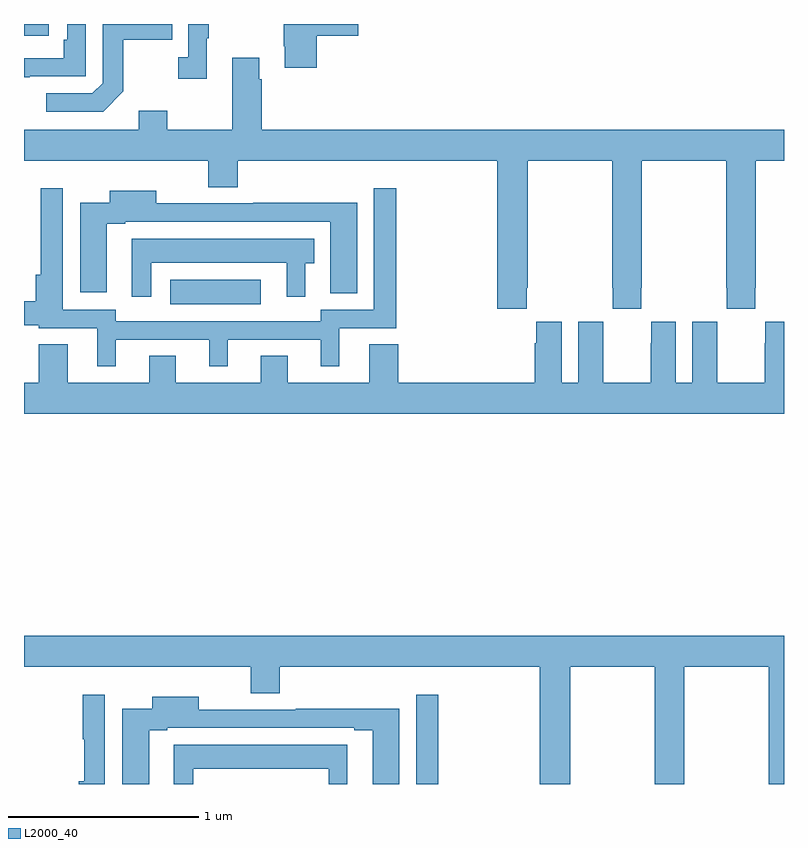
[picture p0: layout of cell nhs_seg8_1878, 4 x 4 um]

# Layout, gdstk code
import gdstk
lib = gdstk.Library(unit=1e-6, precision=1e-09)
def R(c, l, rs):  # rectangles x0, y0, x1, y1
    for r in rs: c.add(gdstk.rectangle(r[:2], r[2:], *l))
def P(c, l, *ps):  # polygons
    for p in ps: c.add(gdstk.Polygon(p, *l))
L2000_40 = (2000, 40)

nhs_seg8_1878 = lib.new_cell('nhs_seg8_1878')
R(nhs_seg8_1878, L2000_40, [(233.064,1099.9,233.18,1100.371), (231.771,1102.424,232.246,1102.555), (231,1103.838,231.13,1103.9)])
P(nhs_seg8_1878, L2000_40, [(231.961,1103.825),(231.973,1103.825),(231.973,1103.9),(231.864,1103.9),(231.864,1103.726),(231.813,1103.726),(231.813,1103.613),(231.961,1103.613)],
  [(231.029,1103.625),(231.324,1103.625),(231.324,1103.9),(231.228,1103.9),(231.228,1103.818),(231.208,1103.818),(231.208,1103.721),(231,1103.721),(231,1103.62),(231.029,1103.62)],
  [(231.523,1103.545),(231.523,1103.818),(231.779,1103.818),(231.779,1103.9),(231.414,1103.9),(231.414,1103.589),(231.36,1103.535),(231.117,1103.535),(231.117,1103.439),(231.417,1103.439)],
  [(232.541,1103.837),(232.759,1103.837),(232.759,1103.9),(232.366,1103.9),(232.366,1103.782),(232.373,1103.782),(232.373,1103.67),(232.541,1103.67)],
  [(233.645,1102.513),(233.652,1102.513),(233.652,1103.18),(234.097,1103.18),(234.097,1102.513),(234.099,1102.513),(234.099,1102.401),(234.249,1102.401),(234.249,1102.513),(234.252,1102.513),(234.252,1103.18),(234.697,1103.18),(234.697,1102.513),(234.699,1102.513),(234.699,1102.401),(234.849,1102.401),(234.849,1102.513),(234.852,1102.513),(234.852,1103.18),(235,1103.18),(235,1103.344),(232.25,1103.344),(232.25,1103.609),(232.237,1103.609),(232.237,1103.722),(232.097,1103.722),(232.097,1103.344),(231.753,1103.344),(231.753,1103.443),(231.605,1103.443),(231.605,1103.344),(231,1103.344),(231,1103.18),(231.971,1103.18),(231.971,1103.041),(232.124,1103.041),(232.124,1103.18),(233.492,1103.18),(233.492,1102.401),(233.645,1102.401)],
  [(231.484,1102.239),(231.974,1102.239),(231.974,1102.098),(232.072,1102.098),(232.072,1102.239),(232.562,1102.239),(232.562,1102.098),(232.66,1102.098),(232.66,1102.299),(232.958,1102.299),(232.958,1103.035),(232.842,1103.035),(232.842,1102.395),(232.563,1102.395),(232.563,1102.335),(231.483,1102.335),(231.483,1102.395),(231.204,1102.395),(231.204,1103.035),(231.088,1103.035),(231.088,1102.579),(231.062,1102.579),(231.062,1102.442),(231,1102.442),(231,1102.314),(231.078,1102.314),(231.078,1102.299),(231.386,1102.299),(231.386,1102.098),(231.484,1102.098)],
  [(232.753,1102.959),(232.207,1102.959),(232.207,1102.956),(231.697,1102.956),(231.697,1103.023),(231.452,1103.023),(231.452,1102.959),(231.296,1102.959),(231.296,1102.488),(231.436,1102.488),(231.436,1102.848),(231.532,1102.848),(231.532,1102.86),(232.613,1102.86),(232.613,1102.482),(232.753,1102.482)],
  [(231.67,1102.643),(232.382,1102.643),(232.382,1102.464),(232.48,1102.464),(232.48,1102.642),(232.528,1102.642),(232.528,1102.771),(231.566,1102.771),(231.566,1102.464),(231.67,1102.464)],
  [(235,1102.333),(234.9,1102.333),(234.9,1102.22),(234.899,1102.22),(234.899,1102.012),(234.649,1102.012),(234.649,1102.22),(234.648,1102.22),(234.648,1102.333),(234.518,1102.333),(234.518,1102.012),(234.43,1102.012),(234.43,1102.333),(234.3,1102.333),(234.3,1102.22),(234.299,1102.22),(234.299,1102.012),(234.049,1102.012),(234.049,1102.22),(234.048,1102.22),(234.048,1102.333),(233.918,1102.333),(233.918,1102.012),(233.83,1102.012),(233.83,1102.333),(233.696,1102.333),(233.696,1102.22),(233.687,1102.22),(233.687,1102.012),(232.97,1102.012),(232.97,1102.214),(232.817,1102.214),(232.817,1102.012),(232.387,1102.012),(232.387,1102.154),(232.247,1102.154),(232.247,1102.012),(231.799,1102.012),(231.799,1102.154),(231.659,1102.154),(231.659,1102.012),(231.229,1102.012),(231.229,1102.214),(231.077,1102.214),(231.077,1102.012),(231,1102.012),(231,1101.848),(235,1101.848)],
  [(233.874,1100.516),(234.319,1100.516),(234.319,1099.9),(234.474,1099.9),(234.474,1100.516),(234.919,1100.516),(234.919,1099.9),(235,1099.9),(235,1100.68),(231,1100.68),(231,1100.516),(232.193,1100.516),(232.193,1100.377),(232.346,1100.377),(232.346,1100.516),(233.714,1100.516),(233.714,1099.9),(233.874,1099.9)],
  [(231.426,1100.371),(231.31,1100.371),(231.31,1100.135),(231.318,1100.135),(231.318,1099.915),(231.289,1099.915),(231.289,1099.9),(231.426,1099.9)],
  [(231.658,1100.184),(231.754,1100.184),(231.754,1100.196),(232.739,1100.196),(232.739,1100.184),(232.835,1100.184),(232.835,1099.9),(232.975,1099.9),(232.975,1100.295),(232.429,1100.295),(232.429,1100.292),(231.919,1100.292),(231.919,1100.359),(231.674,1100.359),(231.674,1100.295),(231.518,1100.295),(231.518,1099.9),(231.658,1099.9)],
  [(231.892,1099.979),(232.604,1099.979),(232.604,1099.9),(232.702,1099.9),(232.702,1100.107),(231.788,1100.107),(231.788,1099.9),(231.892,1099.9)])

lib.write_gds('nhs_seg8_1878.gds')
